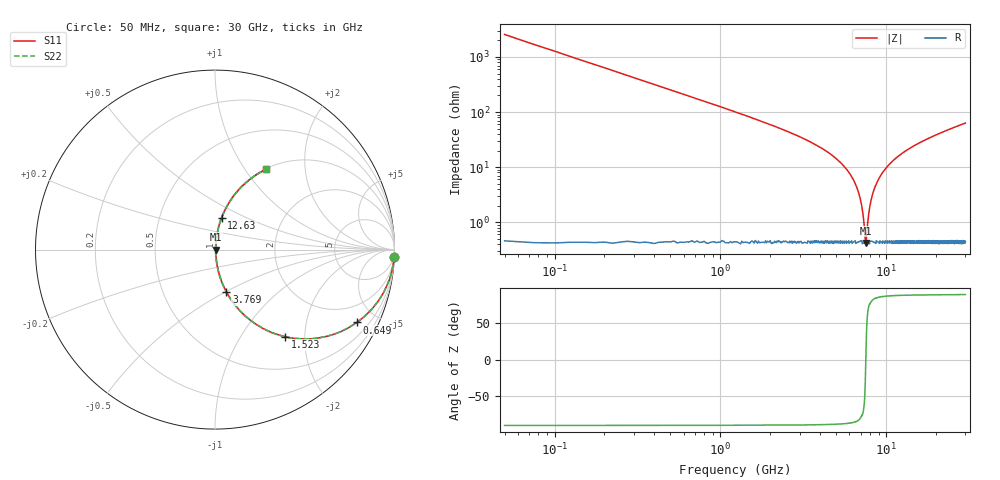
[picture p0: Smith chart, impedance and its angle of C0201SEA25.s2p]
!	AVX Thin Film Operation 	Date: April 2014
!	Description: Accu-P® Series, Thin Film  SMD RF Capacitor
!	Part Number: 02015JA25PBSTR
# MHZ S MA R 50
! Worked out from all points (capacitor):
!   1201 points, 50 MHz to 30 GHz, reference 50 ohm
!   read as one part in series: C = 1.25 pF near 199.8 MHz
!   lowest |Z| = 421 mohm at 7.537 GHz (marker M1)
!   series resonance near 7.529 GHz, so ESL is about 360 pH
!   S11 on the Smith chart (normalised r, x): 50 MHz: 1, -51; 649 MHz: 1.01, -3.90; 1.523 GHz: 1.01, -1.60; 3.769 GHz: 1.01, -0.51; 12.63 GHz: 1.01, +0.37; 30 GHz: 1.01, +1.26
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50  0.999 -2.2  0.039 87.7  0.039 87.7  0.999 -2.2
324.542  0.969 -14.3  0.247 75.6  0.247 75.6  0.969 -14.3
649  0.889 -27.2  0.456 62.7  0.456 62.7  0.889 -27.2
1522.542  0.624 -51.1  0.778 38.6  0.778 38.6  0.624 -51.1
2446  0.421 -64.6  0.903 24.9  0.903 24.9  0.421 -64.6
3768.792  0.244 -74.9  0.965 14.1  0.965 14.1  0.244 -74.9
5041.667  0.137 -80.3  0.986 7.9  0.986 7.9  0.137 -80.3
6015.042  0.076 -82.4  0.993 4.4  0.993 4.4  0.076 -82.4
6688.917  0.04 -81.5  0.995 2.3  0.995 2.3  0.04 -81.5
7088.25  0.021 -76.8  0.995 1.2  0.995 1.2  0.021 -76.8
7437.667  0.00597 -43.1  0.996 0.2  0.996 0.2  0.00597 -43.1
7537.5  0.004359 5.2  0.996 -0.0  0.996 -0.0  0.004359 5.2
7637.333  0.00649 47.7  0.996 -0.3  0.996 -0.3  0.00649 47.7
7986.75  0.02 76.6  0.995 -1.1  0.995 -1.1  0.02 76.6
8361.125  0.036 81.0  0.995 -2.0  0.995 -2.0  0.036 81.0
9059.958  0.063 82.5  0.994 -3.6  0.994 -3.6  0.063 82.5
10058.29  0.099 81.8  0.991 -5.6  0.991 -5.6  0.099 81.8
12629  0.179 78.3  0.98 -10.3  0.98 -10.3  0.179 78.3
15025  0.244 74.9  0.966 -14.1  0.966 -14.1  0.244 74.9
20016.67  0.359 68.3  0.929 -21.0  0.929 -21.0  0.359 68.3
25033.29  0.454 62.5  0.887 -27.0  0.887 -27.0  0.454 62.5
30000  0.532 57.4  0.843 -32.2  0.843 -32.2  0.532 57.4
